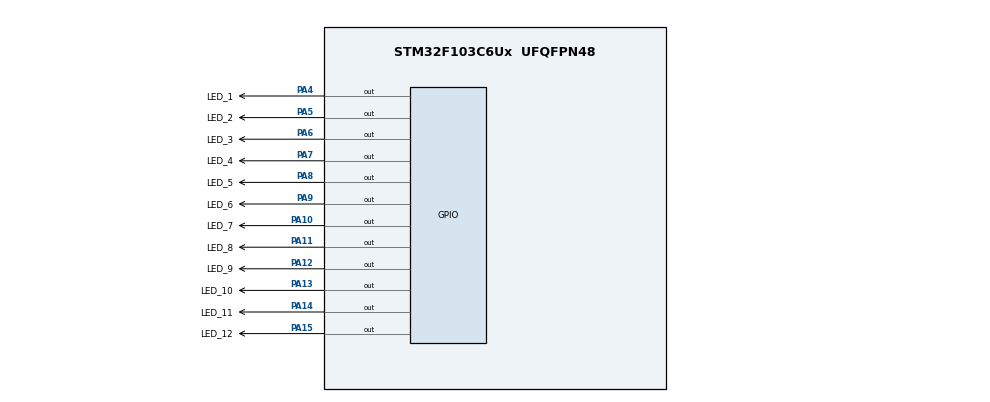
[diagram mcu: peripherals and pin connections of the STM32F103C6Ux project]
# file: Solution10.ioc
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Mcu.Family=STM32F1
Mcu.Name=STM32F103C6Ux
Mcu.Package=UFQFPN48
NVIC.PriorityGroup=NVIC_PRIORITYGROUP_4
PA10.GPIO_Label=LED_7
PA10.Signal=GPIO_Output
PA11.GPIO_Label=LED_8
PA11.Signal=GPIO_Output
PA12.GPIO_Label=LED_9
PA12.Signal=GPIO_Output
PA13.GPIO_Label=LED_10
PA13.Signal=GPIO_Output
PA14.GPIO_Label=LED_11
PA14.Signal=GPIO_Output
PA15.GPIO_Label=LED_12
PA15.Signal=GPIO_Output
PA4.GPIO_Label=LED_1
PA4.Signal=GPIO_Output
PA5.GPIO_Label=LED_2
PA5.Signal=GPIO_Output
PA6.GPIO_Label=LED_3
PA6.Signal=GPIO_Output
PA7.GPIO_Label=LED_4
PA7.Signal=GPIO_Output
PA8.GPIO_Label=LED_5
PA8.Signal=GPIO_Output
PA9.GPIO_Label=LED_6
PA9.Signal=GPIO_Output
ProjectManager.HeapSize=0x200
ProjectManager.StackSize=0x400
ProjectManager.TargetToolchain=STM32CubeIDE
RCC.APB1Freq_Value=8000000
RCC.APB2Freq_Value=8000000
VP_SYS_VS_ND.Mode=No_Debug
board=custom

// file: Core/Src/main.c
/* USER CODE BEGIN Header */
/**
  ******************************************************************************
  * @file           : main.c
  * @brief          : Main program body
  ******************************************************************************
  * @attention
  *
  * <h2><center>&copy; Copyright (c) 2022 STMicroelectronics.
  * All rights reserved.</center></h2>
  *
  * This software component is licensed by ST under BSD 3-Clause license,
  * the "License"; You may not use this file except in compliance with the
  * License. You may obtain a copy of the License at:
  *                        opensource.org/licenses/BSD-3-Clause
  *
  ******************************************************************************
  */
/* USER CODE END Header */
#include "main.h"

void SystemClock_Config(void);
static void MX_GPIO_Init(void);
/* USER CODE BEGIN PFP */
void clearAllClock();
void setNumberOnClock(int num);
void clearNumberOnClock(int num);
/* USER CODE END PFP */

int main(void)
{

  /* MCU Configuration--------------------------------------------------------*/

  /* Reset of all peripherals, Initializes the Flash interface and the Systick. */
  HAL_Init();

  /* Configure the system clock */
  SystemClock_Config();

  /* Initialize all configured peripherals */
  MX_GPIO_Init();
  /* USER CODE BEGIN 2 */
  int sec = 0, min = 0, hour = 0;
  int thePreviousLed;
  clearAllClock();
  /* USER CODE END 2 */

  /* Infinite loop */
  /* USER CODE BEGIN WHILE */
  while (1)
  {
	if(sec >= 60) {
		sec = 0;
		min++;
	}
	if(min >=60){
		min = 0;
		hour++;
	}
	if(hour >= 12){
		hour = 0;
	}
	if(sec%5 == 0){
		if(sec/5 == 0) thePreviousLed = 11;
		else thePreviousLed = sec/5-1;
		if(thePreviousLed != min/5 && thePreviousLed != hour) clearNumberOnClock(thePreviousLed);

	}
	if(min%5 == 0){
		if(min/5 == 0) thePreviousLed = 11;
		else thePreviousLed = min/5-1;
		if(thePreviousLed != sec/5 && thePreviousLed != hour) clearNumberOnClock(thePreviousLed);

	}
	if(hour == 0) thePreviousLed = 11;
	else thePreviousLed = hour - 1;
	if(thePreviousLed != sec/5 && thePreviousLed != min/5) clearNumberOnClock(thePreviousLed);
	setNumberOnClock(sec/5);
	setNumberOnClock(min/5);
	setNumberOnClock(hour);
	sec++;
	HAL_Delay(100);
    /* USER CODE END WHILE */

  }
}

void SystemClock_Config(void)
{
  RCC_OscInitTypeDef RCC_OscInitStruct = {0};
  RCC_ClkInitTypeDef RCC_ClkInitStruct = {0};

  /** Initializes the RCC Oscillators according to the specified parameters
  * in the RCC_OscInitTypeDef structure.
  */
  RCC_OscInitStruct.OscillatorType = RCC_OSCILLATORTYPE_HSI;
  RCC_OscInitStruct.HSIState = RCC_HSI_ON;
  RCC_OscInitStruct.HSICalibrationValue = RCC_HSICALIBRATION_DEFAULT;
  RCC_OscInitStruct.PLL.PLLState = RCC_PLL_NONE;
  if (HAL_RCC_OscConfig(&RCC_OscInitStruct) != HAL_OK)
  {
    Error_Handler();
  }
  /** Initializes the CPU, AHB and APB buses clocks
  */
  RCC_ClkInitStruct.ClockType = RCC_CLOCKTYPE_HCLK|RCC_CLOCKTYPE_SYSCLK
                              |RCC_CLOCKTYPE_PCLK1|RCC_CLOCKTYPE_PCLK2;
  RCC_ClkInitStruct.SYSCLKSource = RCC_SYSCLKSOURCE_HSI;
  RCC_ClkInitStruct.AHBCLKDivider = RCC_SYSCLK_DIV1;
  RCC_ClkInitStruct.APB1CLKDivider = RCC_HCLK_DIV1;
  RCC_ClkInitStruct.APB2CLKDivider = RCC_HCLK_DIV1;

  if (HAL_RCC_ClockConfig(&RCC_ClkInitStruct, FLASH_LATENCY_0) != HAL_OK)
  {
    Error_Handler();
  }
}

static void MX_GPIO_Init(void)
{
  GPIO_InitTypeDef GPIO_InitStruct = {0};

  /* GPIO Ports Clock Enable */
  __HAL_RCC_GPIOA_CLK_ENABLE();

  /*Configure GPIO pin Output Level */
  HAL_GPIO_WritePin(GPIOA, LED_1_Pin|LED_2_Pin|LED_3_Pin|LED_4_Pin
                          |LED_5_Pin|LED_6_Pin|LED_7_Pin|LED_8_Pin
                          |LED_9_Pin|LED_10_Pin|LED_11_Pin|LED_12_Pin, GPIO_PIN_RESET);

  /*Configure GPIO pins : LED_1_Pin LED_2_Pin LED_3_Pin LED_4_Pin
                           LED_5_Pin LED_6_Pin LED_7_Pin LED_8_Pin
                           LED_9_Pin LED_10_Pin LED_11_Pin LED_12_Pin */
  GPIO_InitStruct.Pin = LED_1_Pin|LED_2_Pin|LED_3_Pin|LED_4_Pin
                          |LED_5_Pin|LED_6_Pin|LED_7_Pin|LED_8_Pin
                          |LED_9_Pin|LED_10_Pin|LED_11_Pin|LED_12_Pin;
  GPIO_InitStruct.Mode = GPIO_MODE_OUTPUT_PP;
  GPIO_InitStruct.Pull = GPIO_NOPULL;
  GPIO_InitStruct.Speed = GPIO_SPEED_FREQ_LOW;
  HAL_GPIO_Init(GPIOA, &GPIO_InitStruct);

}

/* USER CODE BEGIN 4 */
void clearAllClock(){
	HAL_GPIO_WritePin(GPIOA, LED_1_Pin|LED_2_Pin|LED_3_Pin|LED_4_Pin
	                          |LED_5_Pin|LED_6_Pin|LED_7_Pin|LED_8_Pin
	                          |LED_9_Pin|LED_10_Pin|LED_11_Pin|LED_12_Pin, GPIO_PIN_SET);

}

void setNumberOnClock(int num){
	if(num == 0) HAL_GPIO_WritePin(LED_12_GPIO_Port, LED_12_Pin, RESET);
	if(num == 1) HAL_GPIO_WritePin(LED_1_GPIO_Port, LED_1_Pin, RESET);
	if(num == 2) HAL_GPIO_WritePin(LED_2_GPIO_Port, LED_2_Pin, RESET);
	if(num == 3) HAL_GPIO_WritePin(LED_3_GPIO_Port, LED_3_Pin, RESET);
	if(num == 4) HAL_GPIO_WritePin(LED_4_GPIO_Port, LED_4_Pin, RESET);
	if(num == 5) HAL_GPIO_WritePin(LED_5_GPIO_Port, LED_5_Pin, RESET);
	if(num == 6) HAL_GPIO_WritePin(LED_6_GPIO_Port, LED_6_Pin, RESET);
	if(num == 7) HAL_GPIO_WritePin(LED_7_GPIO_Port, LED_7_Pin, RESET);
	if(num == 8) HAL_GPIO_WritePin(LED_8_GPIO_Port, LED_8_Pin, RESET);
	if(num == 9) HAL_GPIO_WritePin(LED_9_GPIO_Port, LED_9_Pin, RESET);
	if(num == 10) HAL_GPIO_WritePin(LED_10_GPIO_Port, LED_10_Pin, RESET);
	if(num == 11) HAL_GPIO_WritePin(LED_11_GPIO_Port, LED_11_Pin, RESET);
}

void clearNumberOnClock(int num){
	if(num == 0) HAL_GPIO_WritePin(LED_12_GPIO_Port, LED_12_Pin, SET);
	if(num == 1) HAL_GPIO_WritePin(LED_1_GPIO_Port, LED_1_Pin, SET);
	if(num == 2) HAL_GPIO_WritePin(LED_2_GPIO_Port, LED_2_Pin, SET);
	if(num == 3) HAL_GPIO_WritePin(LED_3_GPIO_Port, LED_3_Pin, SET);
	if(num == 4) HAL_GPIO_WritePin(LED_4_GPIO_Port, LED_4_Pin, SET);
	if(num == 5) HAL_GPIO_WritePin(LED_5_GPIO_Port, LED_5_Pin, SET);
	if(num == 6) HAL_GPIO_WritePin(LED_6_GPIO_Port, LED_6_Pin, SET);
	if(num == 7) HAL_GPIO_WritePin(LED_7_GPIO_Port, LED_7_Pin, SET);
	if(num == 8) HAL_GPIO_WritePin(LED_8_GPIO_Port, LED_8_Pin, SET);
	if(num == 9) HAL_GPIO_WritePin(LED_9_GPIO_Port, LED_9_Pin, SET);
	if(num == 10) HAL_GPIO_WritePin(LED_10_GPIO_Port, LED_10_Pin, SET);
	if(num == 11) HAL_GPIO_WritePin(LED_11_GPIO_Port, LED_11_Pin, SET);
}
/* USER CODE END 4 */

void Error_Handler(void)
{
  __disable_irq();
  while (1)
  {
  }
}

/************************ (C) COPYRIGHT STMicroelectronics *****END OF FILE****/
